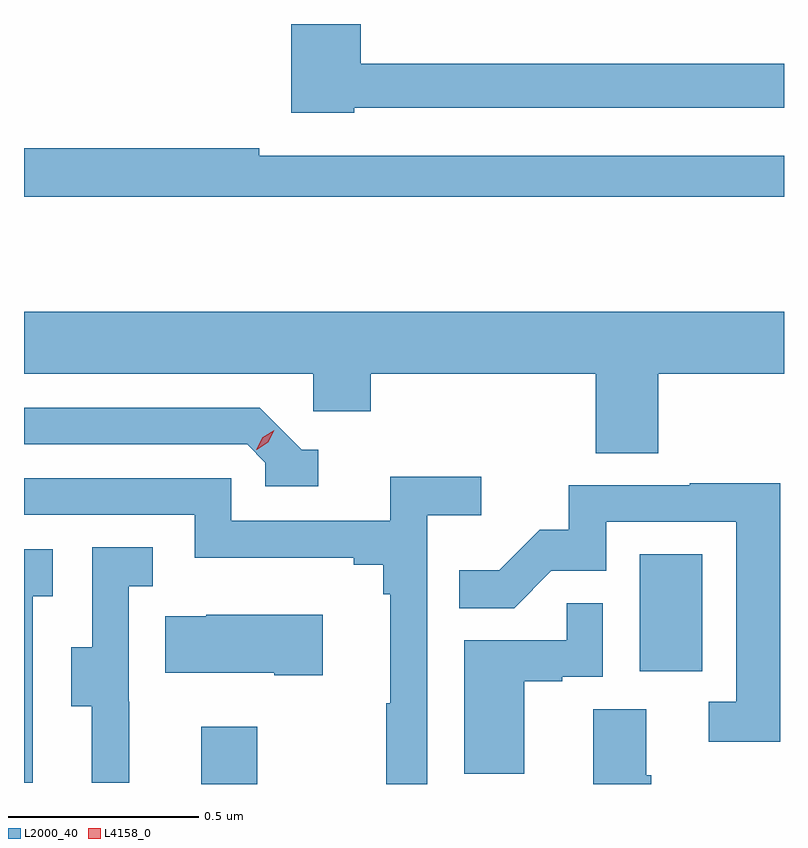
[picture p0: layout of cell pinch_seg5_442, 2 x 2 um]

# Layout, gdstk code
import gdstk
lib = gdstk.Library(unit=1e-6, precision=1e-09)
def R(c, l, rs):  # rectangles x0, y0, x1, y1
    for r in rs: c.add(gdstk.rectangle(r[:2], r[2:], *l))
def P(c, l, *ps):  # polygons
    for p in ps: c.add(gdstk.Polygon(p, *l))
L2000_40 = (2000, 40)
L4158_0 = (4158, 0)

pinch_seg5_442 = lib.new_cell('pinch_seg5_442')
R(pinch_seg5_442, L2000_40, [(935.435,870.333,935.583,870.484), (936.59,870.63,936.754,870.937)])
P(pinch_seg5_442, L2000_40, [(935.838,872.112),(936.969,872.112),(936.969,872.228),(935.855,872.228),(935.855,872.333),(935.672,872.333),(935.672,872.099),(935.838,872.099)],
  [(936.969,871.986),(935.588,871.986),(935.588,872.006),(934.969,872.006),(934.969,871.878),(936.969,871.878)],
  [(936.638,871.412),(936.969,871.412),(936.969,871.576),(934.969,871.576),(934.969,871.412),(935.73,871.412),(935.73,871.314),(935.882,871.314),(935.882,871.412),(936.473,871.412),(936.473,871.204),(936.638,871.204)],
  [(935.743,871.212),(935.7,871.212),(935.589,871.323),(934.969,871.323),(934.969,871.227),(935.556,871.227),(935.604,871.179),(935.604,871.116),(935.743,871.116)],
  [(936.03,871.04),(936.172,871.04),(936.172,871.142),(935.933,871.142),(935.933,871.026),(935.514,871.026),(935.514,871.137),(934.969,871.137),(934.969,871.041),(935.418,871.041),(935.418,870.929),(935.837,870.929),(935.837,870.91),(935.914,870.91),(935.914,870.833),(935.933,870.833),(935.933,870.545),(935.922,870.545),(935.922,870.333),(936.03,870.333)],
  [(936.959,871.124),(936.721,871.124),(936.721,871.119),(936.403,871.119),(936.403,871.002),(936.326,871.002),(936.219,870.895),(936.115,870.895),(936.115,870.796),(936.259,870.796),(936.357,870.894),(936.501,870.894),(936.501,871.023),(936.843,871.023),(936.843,870.549),(936.771,870.549),(936.771,870.444),(936.959,870.444)],
  [(935.246,870.549),(935.244,870.549),(935.244,870.853),(935.308,870.853),(935.308,870.956),(935.148,870.956),(935.148,870.693),(935.093,870.693),(935.093,870.538),(935.147,870.538),(935.147,870.336),(935.246,870.336)],
  [(934.992,870.827),(935.044,870.827),(935.044,870.951),(934.969,870.951),(934.969,870.336),(934.992,870.336)],
  [(936.286,870.603),(936.386,870.603),(936.386,870.615),(936.492,870.615),(936.492,870.809),(936.397,870.809),(936.397,870.711),(936.128,870.711),(936.128,870.36),(936.286,870.36)],
  [(935.755,870.778),(935.449,870.778),(935.449,870.775),(935.341,870.775),(935.341,870.626),(935.627,870.626),(935.627,870.619),(935.755,870.619)],
  [(936.62,870.356),(936.607,870.356),(936.607,870.53),(936.467,870.53),(936.467,870.333),(936.62,870.333)])
P(pinch_seg5_442, L4158_0, [(935.58,871.212),(935.58,871.213),(935.597,871.245),(935.628,871.264),(935.628,871.264),(935.628,871.264),(935.612,871.232),(935.581,871.212)])

lib.write_gds('pinch_seg5_442.gds')
